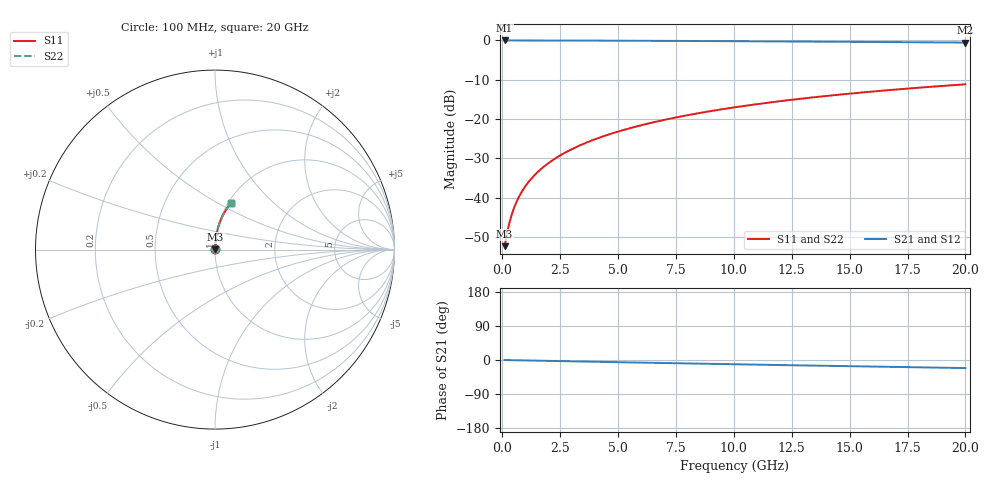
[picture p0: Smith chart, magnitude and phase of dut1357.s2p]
! Touchstone file exported from HFSS 2024.1.0
!  File:  C:/UserFiles/LocalFiles/RDL_TSV_Batchsim/temp_RDL_top_1357_1780366414.aedt
!  Generated:  10:16:05 AM Jun  2, 2026
!  Design:  RDL_top
!  Project:  temp_RDL_top_1357_1780366414
!  Setup:  Setup1
!  Solution:  Sweep
! Variables:
!  dtsv = 10.80580581um
!  hbump = 3um
!  htsv = 79.77um
!  ldown = 100um
!  lrdl = 213.9um
!  p = 40
!  p1 = 58.35um
!  rhole = 1um
!  t = 450um
!  tdown = 3.915915916um
!  trdl = 2.88um
!  wdown = 15.38538539um
!  wrdl = 15.24um
# GHz S MA R 50.000000
! Terminal data exported
! Port[1] = Box2_T1
! Port[2] = Box2_T2
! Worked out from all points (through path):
!   200 points, 100 MHz to 20 GHz, reference 50 ohm
!   highest |S21| = -0.02 dB at 100 MHz (marker M1); lowest = -0.6 dB at 20 GHz (marker M2)
!   group delay of S21, straight-line fit = 2.95 ps
!   lowest |S11| = -52.4 dB at 100 MHz (marker M3), VSWR 1.00, Z = 50.2 + j0.143 ohm
!   |S11| at or under -10 dB: start of sweep to end of sweep
!   |S22| runs from -52.4 to -11.2 dB; largest |S21 - S12| = 4.4e-15
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0.1  0.00241 36.2  0.9981 -0.1  0.9981 -0.1  0.00241 36.2
! Gamma 0 0 0 0
! Port Impedance 50 0 50 0
0.2  0.003457 55.1  0.998 -0.2  0.998 -0.2  0.003457 55.1
0.3  0.004692 64.5  0.998 -0.4  0.998 -0.4  0.004692 64.5
0.4  0.005985 69.7  0.9979 -0.5  0.9979 -0.5  0.005985 69.7
0.5  0.007302 73.1  0.9978 -0.6  0.9978 -0.6  0.007302 73.1
0.6  0.008628 75.5  0.9978 -0.7  0.9978 -0.7  0.008628 75.5
0.8  0.0113 78.5  0.9976 -1.0  0.9976 -1.0  0.0113 78.5
1.1  0.01533 81.1  0.9974 -1.3  0.9974 -1.3  0.01533 81.1
1.5  0.02075 82.9  0.9971 -1.8  0.9971 -1.8  0.02075 82.9
1.8  0.02483 83.7  0.9968 -2.1  0.9968 -2.1  0.02483 83.7
2.1  0.02893 84.2  0.9965 -2.5  0.9965 -2.5  0.02893 84.2
2.7  0.03716 84.8  0.9957 -3.2  0.9957 -3.2  0.03716 84.8
3.5  0.04821 85.0  0.9944 -4.1  0.9944 -4.1  0.04821 85.0
4.2  0.05796 85.0  0.993 -4.9  0.993 -4.9  0.05796 85.0
5  0.06917 84.7  0.9913 -5.8  0.9913 -5.8  0.06917 84.7
5.9  0.08188 84.2  0.9891 -6.8  0.9891 -6.8  0.08188 84.2
6.8  0.09466 83.6  0.9867 -7.8  0.9867 -7.8  0.09466 83.6
8.3  0.116 82.4  0.9823 -9.4  0.9823 -9.4  0.116 82.4
10.1  0.1417 80.8  0.9765 -11.4  0.9765 -11.4  0.1417 80.8
13.4  0.1881 77.6  0.9648 -14.8  0.9648 -14.8  0.1881 77.6
16.7  0.2331 74.2  0.952 -18.1  0.952 -18.1  0.2331 74.2
20  0.2762 70.9  0.9382 -21.3  0.9382 -21.3  0.2762 70.9
